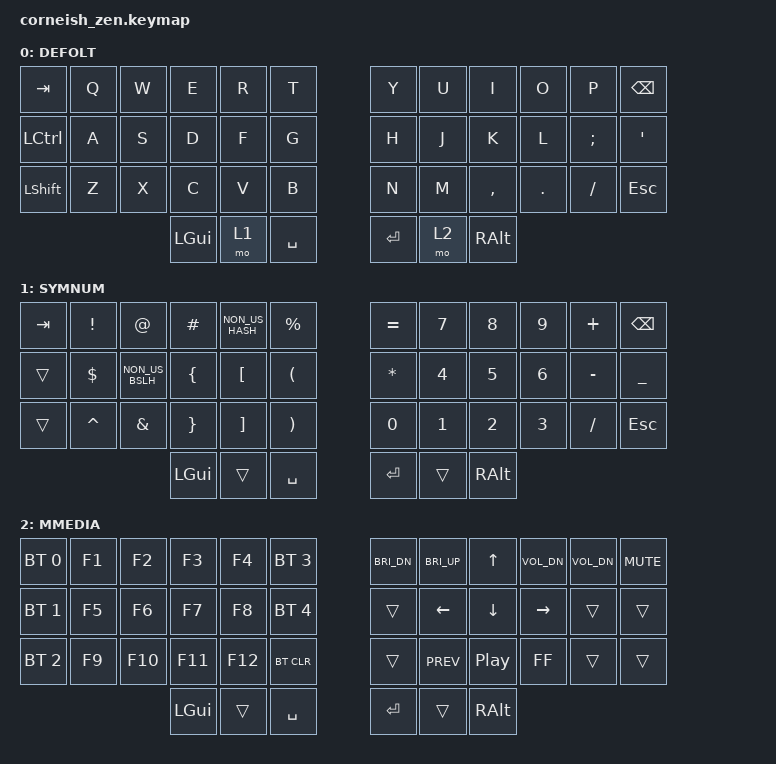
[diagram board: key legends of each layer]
/*
*
* Copyright (c) 2021 Darryl deHaan
* Adapted by Riza Yahya
* SPDX-License-Identifier: MIT
*
*/

#include <behaviors.dtsi>
#include <dt-bindings/zmk/keys.h>
#include <dt-bindings/zmk/bt.h>

/ {
        keymap {
                compatible = "zmk,keymap";

                default_layer {
                        label = "DEFOLT";
// -----------------------------------------------------------------------------------------
// |  TAB |  Q  |  W  |  E  |  R  |  T  |   |  Y  |  U   |  I  |  O  |  P  | BKSP |
// | CTRL |  A  |  S  |  D  |  F  |  G  |   |  H  |  J   |  K  |  L  |  ;  |  '   |
// | SHFT |  Z  |  X  |  C  |  V  |  B  |   |  N  |  M   |  ,  |  .  |  /  | ESC  |
//                    | GUI | LWR | SPC |   | ENT | RSE  | ALT |
                        bindings = <
   &kp TAB   &kp Q &kp W &kp E &kp R &kp T   &kp Y &kp U  &kp I     &kp O   &kp P    &kp BSPC
   &kp LCTRL &kp A &kp S &kp D &kp F &kp G   &kp H &kp J  &kp K     &kp L   &kp SEMI &kp SQT
   &kp LSHFT &kp Z &kp X &kp C &kp V &kp B   &kp N &kp M  &kp COMMA &kp DOT &kp FSLH &kp ESC
                  &kp LGUI &mo 1 &kp SPACE   &kp RET &mo 2 &kp RALT
                        >;
                };
                lower_layer {
                        label = "SYMNUM";
// -----------------------------------------------------------------------------------------
// | TAB |  !  |  @  |  #  |  €  |  %  |   |  =  |  7  |  8  |  9  |  +  | del  |
// |     |  $  |  \  |  {  |  [  |  (  |   |  *  |  4  |  5  |  6  |  -  |  _   |
// |     |  ^  |  &  |  }  |  ]  |  )  |   |  0  |  1  |  2  |  3  |  /  | esc  |
//                    | GUI |    | SPC |   | ENT |   | ALT |
                        bindings = <
   &kp TAB   &kp EXCL   &kp AT           &kp HASH   &kp NON_US_HASH   &kp PRCNT   &kp EQUAL &kp N7   &kp N8 &kp N9   &kp PLUS  &kp BSPC
   &trans    &kp DLLR   &kp NON_US_BSLH  &kp LBRC   &kp LBKT   &kp LPAR    &kp STAR  &kp N4   &kp N5 &kp N6   &kp MINUS &kp UNDER
   &trans    &kp CARET  &kp AMPS         &kp RBRC   &kp RBKT   &kp RPAR    &kp N0    &kp N1   &kp N2 &kp N3   &kp FSLH  &kp ESC    
                          	         &kp LGUI     &trans        &kp SPACE      &kp RET   &trans    &kp RALT
                        >;
                };

                raise_layer {
                        label = "MMEDIA";
// -----------------------------------------------------------------------------------------
// | BT0 |  F1  | F2  | F3  | F4  | BT3 |   | DIM | BRT | UP  | V-  | V+  | MUT  |
// | BT1 |  F5  | F6  | F7  | F8  | BT4 |   |     | LFT | DN  | RGT |     |      |
// | BT2 |  F9  | F10 | F11 | F12 | BTC |   |     | RW  | PP  | FW  |     |      |
//                    | GUI |     | SPC |   | ENT |     | ALT |
                        bindings = <
   &bt BT_SEL 0  &kp F1 &kp F2  &kp F3  &kp F4  &bt BT_SEL 3   &kp C_BRI_DN &kp C_BRI_UP  &kp UP     &kp C_VOL_DN   &kp C_VOL_DN  &kp K_MUTE
   &bt BT_SEL 1  &kp F5 &kp F6  &kp F7  &kp F8  &bt BT_SEL 4   &trans       &kp LEFT      &kp DOWN   &kp RIGHT      &trans        &trans
   &bt BT_SEL 2  &kp F9 &kp F10 &kp F11 &kp F12 &bt BT_CLR     &trans       &kp C_PREV    &kp C_PP   &kp C_FF       &trans        &trans
                    	     &kp LGUI &trans   &kp SPACE   &kp RET   &trans   &kp RALT
                        >;
                };
        };
};
